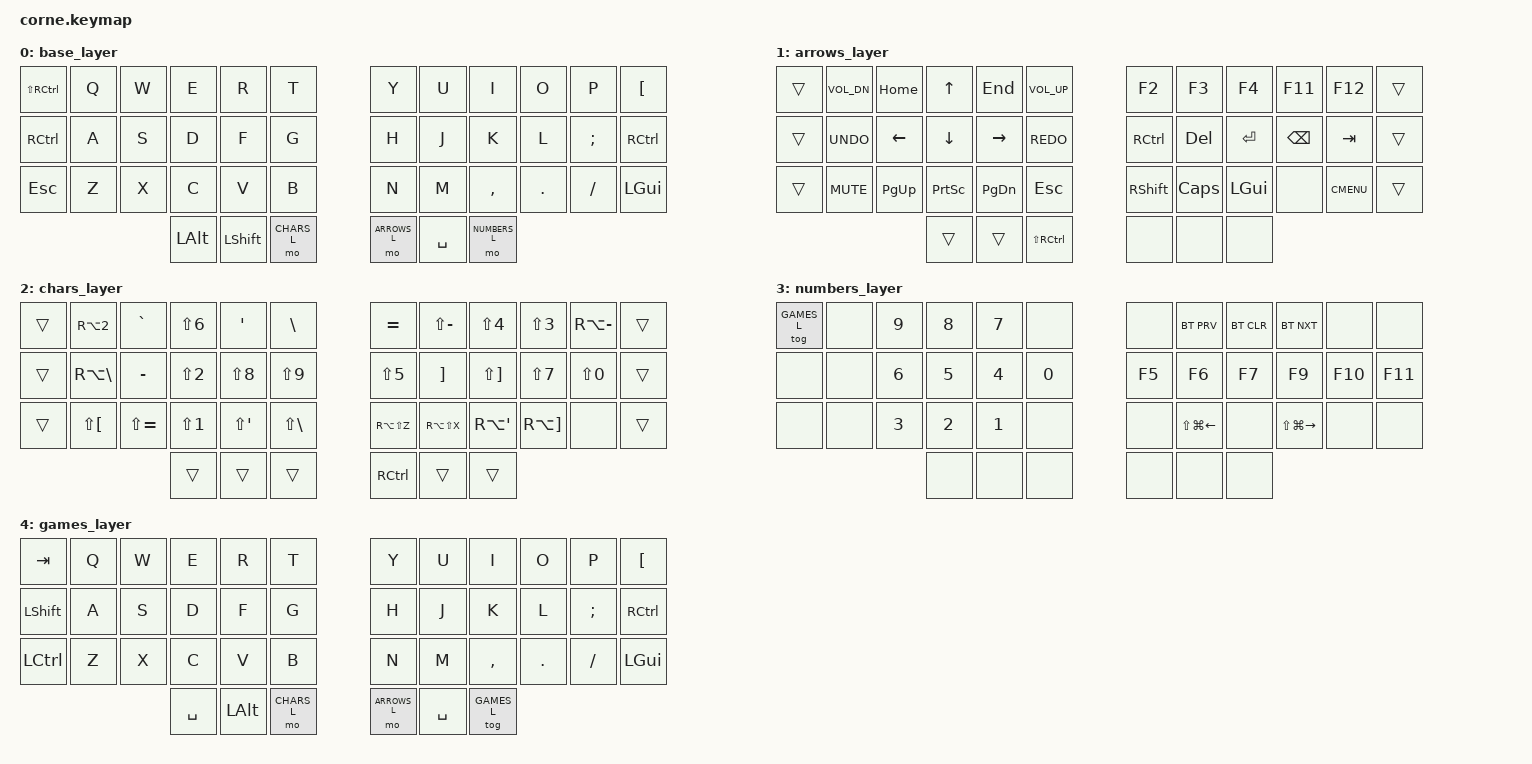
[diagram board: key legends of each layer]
#include <behaviors.dtsi>
#include <dt-bindings/zmk/keys.h>
#include <dt-bindings/zmk/bt.h>

// ------------------------------------------------------------------------------
// |  0  |  1  |  2  |  3  |  4  |  5  |    |  6  |  7  |  8  |  9  |  10 |  11 |
// |  12 |  13 |  14 |  15 |  16 |  17 |    |  18 |  19 |  20 |  21 |  22 |  23 |
// |  24 |  25 |  26 |  27 |  28 |  29 |    |  30 |  31 |  32 |  33 |  34 |  35 |
//                   |  36 |  37 |  38 |    |  39 |  40 |  41 |
// ------------------------------------------------------------------------------

// SPANISH KEYCODES ------------------------------------------------------------

#define ES_REXC    LS(N1) // !
#define ES_DQT     LS(N2) // "
#define ES_HASH    LS(N3) // #
#define ES_DOLLAR  LS(N4) // $
#define ES_PERCENT LS(N5) // %
#define ES_AMPS    LS(N6) // &
#define ES_SLASH   LS(N7) // /
#define ES_LPAR    LS(N8) // (
#define ES_RPAR    LS(N9) // )
#define ES_EQUAL   LS(N0) // =

#define ES_AT RA(N2) // @

#define ES_PIPE GRAVE // |
#define ES_SQT  MINUS // '
#define ES_LQMK EQUAL // ¿

#define ES_DEGREE LS(GRAVE) // °
#define ES_RQMK   LS(MINUS) // ?
#define ES_LEXC   LS(EQUAL) // ¡

#define ES_BCKSLH RA(MINUS) // \

#define ES_ACCT  LEFT_BRACKET  // ´
#define ES_PLUS  RIGHT_BRACKET // +
#define ES_LBRC  SINGLE_QUOTE  // {
#define ES_RBRC  BACKSLASH     // }
#define ES_MINUS SLASH         // -

#define ES_UMLAUT   LS(LEFT_BRACKET)  // ¨
#define ES_STAR     LS(RIGHT_BRACKET) // *
#define ES_LBCK     LS(SINGLE_QUOTE)  // [
#define ES_RBCK     LS(BACKSLASH)     // ]
#define ES_UNDERSCR LS(SLASH)         // _

#define ES_TILDE RA(RIGHT_BRACKET) // ~
#define ES_CARET RA(SINGLE_QUOTE)  // ^
#define ES_GRAVE RA(BACKSLASH)     // `

#define ES_LESSTH RA(LS(Z)) // <
#define ES_GREATH RA(LS(X)) // >

// LAYERS ----------------------------------------------------------------------
#define BASE_L    0
#define ARROWS_L  1
#define CHARS_L   2
#define NUMBERS_L 3
#define GAMES_L 4

/ {
    keymap {
        compatible = "zmk,keymap";

        base_layer {
            // --------------------------------------------------------------------------------
            // | CLST |  Q  |  W  |  E  |  R  |  T  |   |  Y  |  U  |  I  |  O  |  P  |  ´   |
            // | CTRL |  A  |  S  |  D  |  F  |  G  |   |  H  |  J  |  K  |  L  |  Ñ  | CTRL |
            // | ESC  |  Z  |  X  |  C  |  V  |  B  |   |  N  |  M  |  ,  |  .  |  -  | LNUX |
            //                    | ALT | SHF | LY2 |   | LY1 | SPC | LY3 |
            // --------------------------------------------------------------------------------
            bindings = <
            &kp LS(RCTRL) &kp Q &kp W &kp E &kp R &kp T      &kp Y &kp U &kp I     &kp O   &kp P     &kp ES_ACCT
            &kp RCTRL     &kp A &kp S &kp D &kp F &kp G      &kp H &kp J &kp K     &kp L   &kp SEMI  &kp RCTRL
            &kp ESC       &kp Z &kp X &kp C &kp V &kp B      &kp N &kp M &kp COMMA &kp DOT &kp SLASH &kp LGUI
                         &kp LALT &kp LSHFT &mo CHARS_L      &mo ARROWS_L &kp SPACE &mo NUMBERS_L
            >;
        };

        arrows_layer {
            // ---------------------------------------------------------------------------------------
            // | TNS | VOL- | HOME |  UP  | END  | VOL+ |   |  F2  |  F3  |  F4  |  F11 | F12  | TNS |
            // | TNS | UNDO | LEFT | DOWN | RIGH | REDO |   | CTRL | DEL  | ENTR | BSPC | TAB  | TNS |
            // | TNS | MUTE | PGUP | PRNT | PGDW | ESC  |   | SHFT | CAPS | LNX  |      | MENU | TNS |
            //                     | TNS  | TNS  | CLST |   |      |      |      |
            // ---------------------------------------------------------------------------------------
            bindings = <
            &trans &kp C_VOL_DN &kp HOME       &kp UP_ARROW    &kp END         &kp C_VOL_UP      &kp F2    &kp F3   &kp F4    &kp F11       &kp F12     &trans
            &trans &kp K_UNDO   &kp LEFT_ARROW &kp DOWN_ARROW  &kp RIGHT_ARROW &kp K_REDO        &kp RCTRL &kp DEL  &kp ENTER &kp BACKSPACE &kp TAB     &trans
            &trans &kp C_MUTE   &kp PAGE_UP    &kp PRINTSCREEN &kp PAGE_DOWN   &kp ESC           &kp RSHFT &kp CAPS &kp LGUI  &none         &kp K_CMENU &trans
                                               &trans          &trans          &kp LS(RCTRL)     &none     &none    &none
            >;
        };

        chars_layer {
            // -----------------------------------------------------------------------------
            // | TNS |  @  |  |  |  &  |  {  |  }  |   |  ¿  |  ?  |  $  |  #  |  \  | TNS |
            // | TNS |  `  |  '  |  "  |  (  |  )  |   |  %  |  +  |  *  |  /  |  =  | TNS |
            // | TNS |  ¨  |  ¡  |  !  |  [  |  ]  |   |  <  |  >  |  ^  |  ~  |     | TNS |
            //                   |     |     |     |   | CTL |     |     |
            // -----------------------------------------------------------------------------
            bindings = <
            &trans &kp ES_AT     &kp ES_PIPE &kp ES_AMPS &kp ES_LBRC &kp ES_RBRC      &kp ES_LQMK    &kp ES_RQMK   &kp ES_DOLLAR &kp ES_HASH  &kp ES_BCKSLH &trans
            &trans &kp ES_GRAVE  &kp ES_SQT  &kp ES_DQT  &kp ES_LPAR &kp ES_RPAR      &kp ES_PERCENT &kp ES_PLUS   &kp ES_STAR   &kp ES_SLASH &kp ES_EQUAL  &trans
            &trans &kp ES_UMLAUT &kp ES_LEXC &kp ES_REXC &kp ES_LBCK &kp ES_RBCK      &kp ES_LESSTH  &kp ES_GREATH &kp ES_CARET  &kp ES_TILDE &none         &trans
                                             &trans      &trans      &trans           &kp RCTRL      &trans        &trans
            >;
        };

        numbers_layer {
            // -----------------------------------------------------------------------------------
            // | LY4 |     |  9  |  8  |  7  |     |      |      | BPRV | BCLR | BNXT |      |      |
            // |     |     |  6  |  5  |  4  |  0  |      |  F5  |  F6  |  F7  |  F9  | F10  | F11  |
            // |     |     |  3  |  2  |  1  |     |      |      | MLWS |      | MRWS |      |      |
            //                   |     |     |     |      |      |      | LY0  |
            // -----------------------------------------------------------------------------------
            bindings = <
			&tog GAMES_L &none &kp N9 &kp N8 &kp N7 &none       &none  &bt BT_PRV             &bt BT_CLR &bt BT_NXT              &none   &none
            &none        &none &kp N6 &kp N5 &kp N4 &kp N0      &kp F5 &kp F6                 &kp F7     &kp F9                  &kp F10 &kp F11
			&none        &none &kp N3 &kp N2 &kp N1 &none       &none  &kp LS(LG(LEFT_ARROW)) &none      &kp LS(LG(RIGHT_ARROW)) &none   &none
                			          &none  &none  &none       &none  &none                  &none
            >;
        };

        games_layer {
            // --------------------------------------------------------------------------------
            // | TAB  |  Q  |  W  |  E  |  R  |  T  |   |  Y  |  U  |  I  |  O  |  P  |  ´   |
            // | SHFT |  A  |  S  |  D  |  F  |  G  |   |  H  |  J  |  K  |  L  |  Ñ  | CTRL |
            // | CTRL |  Z  |  X  |  C  |  V  |  B  |   |  N  |  M  |  ,  |  .  |  -  | LNUX |
            //                    | SPC | ALT | ESC |   | LY0 | SPC |     |
            // --------------------------------------------------------------------------------
            bindings = <
            &kp TAB   &kp Q &kp W &kp E &kp R &kp T      &kp Y &kp U &kp I     &kp O   &kp P     &kp ES_ACCT
            &kp LSHFT &kp A &kp S &kp D &kp F &kp G      &kp H &kp J &kp K     &kp L   &kp SEMI  &kp RCTRL
            &kp LCTRL &kp Z &kp X &kp C &kp V &kp B      &kp N &kp M &kp COMMA &kp DOT &kp SLASH &kp LGUI
                     &kp SPACE &kp LALT &mo CHARS_L      &mo ARROWS_L &kp SPACE &tog GAMES_L
            >;
        };
    };
};
